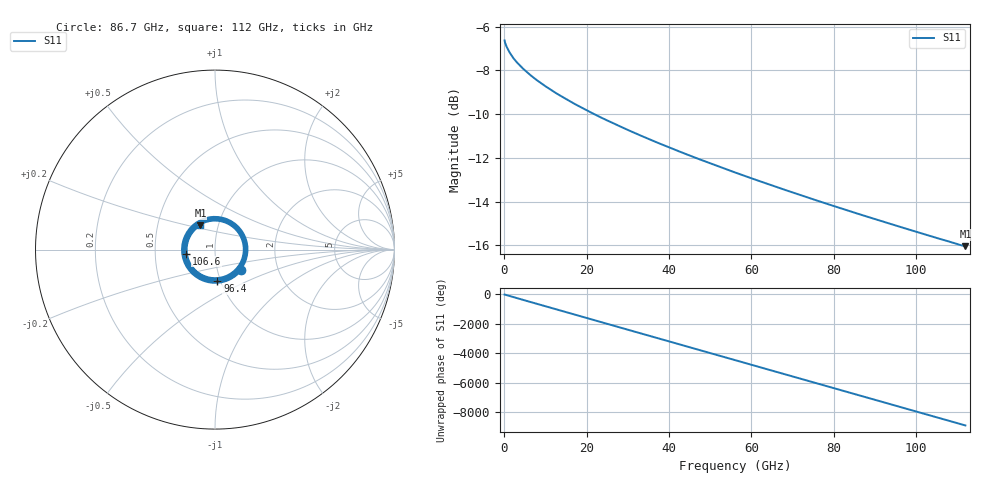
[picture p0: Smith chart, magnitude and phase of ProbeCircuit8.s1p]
! File created by SignalIntegrity v1.3.3: Signal and Power Integrity Tools
! https://github.com/TeledyneLeCroy/SignalIntegrity
# MHz S MA R 50.0
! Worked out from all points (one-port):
!   1120 points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, 100 MHz to 112 GHz, reference 50 ohm
!   lowest |S11| = -16.0 dB at 112 GHz (marker M1), VSWR 1.37, Z = 41.1 + j11.4 ohm
!   |S11| at or under -10 dB: 21.86 GHz to end of sweep
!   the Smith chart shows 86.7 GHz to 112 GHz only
!   S11 on the Smith chart (normalised r, x): 86.7 GHz: 1.30, -0.31; 96.4 GHz: 0.97, -0.35; 106.6 GHz: 0.72, -0.03; 112 GHz: 0.82, +0.23
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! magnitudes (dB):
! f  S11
! 100 MHz  -6.6
! 400 MHz  -6.8
! 800 MHz  -7.0
! 1.1 GHz  -7.1
! 1.9 GHz  -7.4
! 2.4 GHz  -7.5
! 3 GHz  -7.6
! 4.4 GHz  -7.9
! 6.3 GHz  -8.2
! 8.4 GHz  -8.5
! 10.9 GHz  -8.8
! 14.1 GHz  -9.2
! 17.2 GHz  -9.5
! 21.2 GHz  -9.9
! 28.1 GHz  -10.6
! 35 GHz  -11.1
! 42.1 GHz  -11.7
! 48.8 GHz  -12.2
! 56.1 GHz  -12.7
! 62.4 GHz  -13.1
! 70.1 GHz  -13.6
! 84.1 GHz  -14.4
! 86.7 GHz  -14.6
! 96.4 GHz  -15.2
! 98.1 GHz  -15.3
! 106.6 GHz  -15.8
! 110.8 GHz  -16.0
! 112 GHz  -16.0
